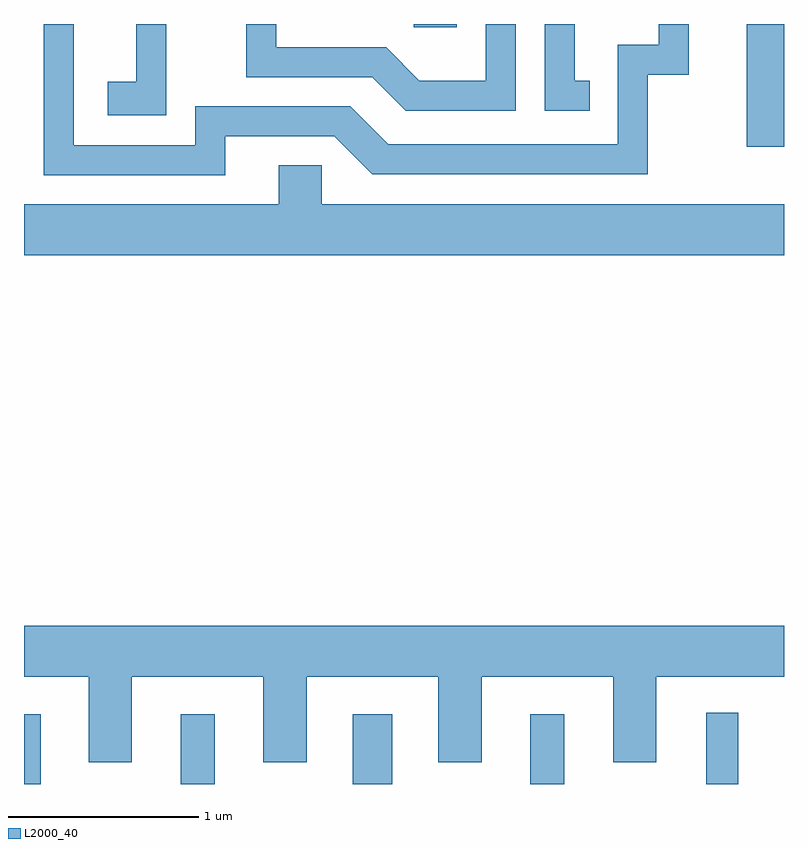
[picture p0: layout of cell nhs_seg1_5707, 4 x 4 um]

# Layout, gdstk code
import gdstk
lib = gdstk.Library(unit=1e-6, precision=1e-09)
def R(c, l, rs):  # rectangles x0, y0, x1, y1
    for r in rs: c.add(gdstk.rectangle(r[:2], r[2:], *l))
def P(c, l, *ps):  # polygons
    for p in ps: c.add(gdstk.Polygon(p, *l))
L2000_40 = (2000, 40)

nhs_seg1_5707 = lib.new_cell('nhs_seg1_5707')
R(nhs_seg1_5707, L2000_40, [(357.611,865.712,357.699,866.079), (358.436,865.712,358.614,866.079), (359.341,865.712,359.549,866.079), (360.276,865.712,360.454,866.079), (361.201,865.712,361.369,866.088), (361.416,869.066,361.611,869.712), (359.661,869.696,359.889,869.712)])
P(nhs_seg1_5707, L2000_40, [(358.359,869.712),(358.201,869.712),(358.201,869.409),(358.051,869.409),(358.051,869.231),(358.359,869.231)],
  [(360.199,869.712),(360.041,869.712),(360.041,869.414),(359.692,869.414),(359.517,869.589),(358.939,869.589),(358.939,869.712),(358.781,869.712),(358.781,869.431),(359.444,869.431),(359.619,869.256),(360.199,869.256)],
  [(358.669,869.121),(359.244,869.121),(359.444,868.921),(360.894,868.921),(360.894,869.446),(361.109,869.446),(361.109,869.712),(360.951,869.712),(360.951,869.604),(360.736,869.604),(360.736,869.079),(359.527,869.079),(359.327,869.279),(358.511,869.279),(358.511,869.074),(357.874,869.074),(357.874,869.712),(357.716,869.712),(357.716,868.916),(358.669,868.916)],
  [(360.588,869.414),(360.509,869.414),(360.509,869.712),(360.351,869.712),(360.351,869.256),(360.588,869.256)],
  [(361.611,868.764),(359.179,868.764),(359.179,868.969),(358.951,868.969),(358.951,868.764),(357.611,868.764),(357.611,868.496),(361.611,868.496)],
  [(358.179,866.276),(358.871,866.276),(358.871,865.826),(359.099,865.826),(359.099,866.276),(359.791,866.276),(359.791,865.826),(360.019,865.826),(360.019,866.276),(360.711,866.276),(360.711,865.826),(360.939,865.826),(360.939,866.276),(361.611,866.276),(361.611,866.544),(357.611,866.544),(357.611,866.276),(357.951,866.276),(357.951,865.826),(358.179,865.826)])

lib.write_gds('nhs_seg1_5707.gds')
